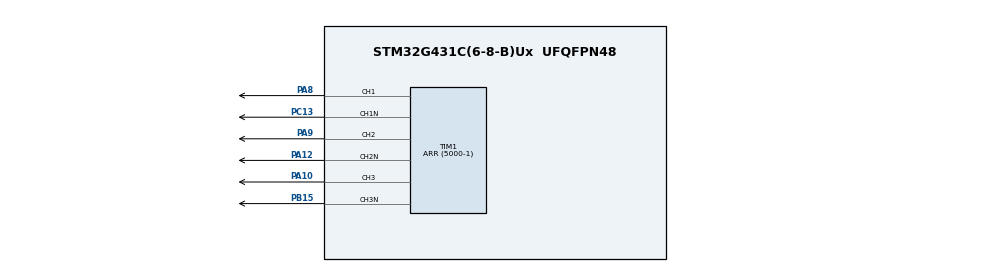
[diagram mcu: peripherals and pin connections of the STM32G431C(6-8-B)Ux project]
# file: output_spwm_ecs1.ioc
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Mcu.Family=STM32G4
Mcu.Name=STM32G431C(6-8-B)Ux
Mcu.Package=UFQFPN48
NVIC.PriorityGroup=NVIC_PRIORITYGROUP_4
NVIC.TIM1_UP_TIM16_IRQn=true\:0\:0\:false\:false\:true\:true\:true\:true
PA10.Signal=S_TIM1_CH3
PA12.Mode=Output Compare2 CH2 CH2N
PA12.Signal=TIM1_CH2N
PA13.Mode=Serial_Wire
PA13.Signal=SYS_JTMS-SWDIO
PA14.Mode=Serial_Wire
PA14.Signal=SYS_JTCK-SWCLK
PA8.Signal=S_TIM1_CH1
PA9.Signal=S_TIM1_CH2
PB15.Mode=Output Compare3 CH3 CH3N
PB15.Signal=TIM1_CH3N
PC13.Mode=Output Compare1 CH1 CH1N
PC13.Signal=TIM1_CH1N
PF0-OSC_IN.Mode=HSE-External-Oscillator
PF0-OSC_IN.Signal=RCC_OSC_IN
PF1-OSC_OUT.Mode=HSE-External-Oscillator
PF1-OSC_OUT.Signal=RCC_OSC_OUT
ProjectManager.HeapSize=0x200
ProjectManager.StackSize=0x400
ProjectManager.TargetToolchain=MDK-ARM V5.32
RCC.ADC12Freq_Value=170000000
RCC.AHBFreq_Value=170000000
RCC.APB1Freq_Value=170000000
RCC.APB1TimFreq_Value=170000000
RCC.APB2Freq_Value=170000000
RCC.APB2TimFreq_Value=170000000
RCC.CortexFreq_Value=170000000
RCC.EXTERNAL_CLOCK_VALUE=12288000
RCC.HCLKFreq_Value=170000000
RCC.HSE_VALUE=8000000
RCC.HSI48_VALUE=48000000
RCC.HSI_VALUE=16000000
RCC.LSE_VALUE=32768
RCC.PLLM=RCC_PLLM_DIV2
RCC.PLLN=85
RCC.PLLSourceVirtual=RCC_PLLSOURCE_HSE
RCC.SYSCLKFreq_VALUE=170000000
RCC.SYSCLKSource=RCC_SYSCLKSOURCE_PLLCLK
RCC.USBFreq_Value=170000000
RCC.VCOOutputFreq_Value=340000000
SH.S_TIM1_CH1.0=TIM1_CH1,Output Compare1 CH1 CH1N
SH.S_TIM1_CH2.0=TIM1_CH2,Output Compare2 CH2 CH2N
SH.S_TIM1_CH3.0=TIM1_CH3,Output Compare3 CH3 CH3N
STMicroelectronics.X-CUBE-ALGOBUILD.1.3.0.LibraryCcDSPOoLibraryJjDSPOoLibrary=true
TIM1.AutoReloadPreload=TIM_AUTORELOAD_PRELOAD_ENABLE
TIM1.BreakState=TIM_BREAK_ENABLE
TIM1.Channel-Output\ Compare1\ CH1\ CH1N=TIM_CHANNEL_1
TIM1.Channel-Output\ Compare2\ CH2\ CH2N=TIM_CHANNEL_2
TIM1.Channel-Output\ Compare3\ CH3\ CH3N=TIM_CHANNEL_3
TIM1.CounterMode=TIM_COUNTERMODE_CENTERALIGNED3
TIM1.DeadTime=0x28
TIM1.Dithering=Disable
TIM1.OC1Preload=ENABLE
TIM1.OC2Preload=ENABLE
TIM1.OC3Preload=ENABLE
TIM1.OffStateIDLEMode=TIM_OSSI_ENABLE
TIM1.OffStateRunMode=TIM_OSSR_ENABLE
TIM1.PeriodNoDither=(5000-1)
TIM1.RepetitionCounter=1
VP_STMicroelectronics.X-CUBE-ALGOBUILD_VS_DSPOoLibraryJjLibrary_1.3.0_1.3.0.Mode=DSPOoLibraryJjLibrary
VP_SYS_VS_DBSignals.Mode=DisableDeadBatterySignals
VP_TIM1_VS_ClockSourceINT.Mode=Internal
board=custom

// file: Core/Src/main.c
/* USER CODE BEGIN Header */
/**
  ******************************************************************************
  * @file           : main.c
  * @brief          : Main program body
  ******************************************************************************
  * @attention
  *
  * Copyright (c) 2024 STMicroelectronics.
  * All rights reserved.
  *
  * This software is licensed under terms that can be found in the LICENSE file
  * in the root directory of this software component.
  * If no LICENSE file comes with this software, it is provided AS-IS.
  *
  ******************************************************************************
  */
/* USER CODE END Header */
#include "main.h"
#include "tim.h"
#include "gpio.h"

/* USER CODE BEGIN Includes */
#include "algorithm_spwm.h"
/* USER CODE END Includes */

/* USER CODE BEGIN PV */
SPWM_HandelTypedef global_spwm;
CORDIC_TypeDef global_cordic;
int32_t acceleration=1;
float32_t frequence;
float32_t max_frequence=70.f;
/* USER CODE END PV */

void SystemClock_Config(void);

int main(void)
{

  /* MCU Configuration--------------------------------------------------------*/

  /* Reset of all peripherals, Initializes the Flash interface and the Systick. */
  LL_APB2_GRP1_EnableClock(LL_APB2_GRP1_PERIPH_SYSCFG);
  LL_APB1_GRP1_EnableClock(LL_APB1_GRP1_PERIPH_PWR);

  /* System interrupt init*/
  NVIC_SetPriorityGrouping(NVIC_PRIORITYGROUP_4);

  /* SysTick_IRQn interrupt configuration */
  NVIC_SetPriority(SysTick_IRQn, NVIC_EncodePriority(NVIC_GetPriorityGrouping(),15, 0));

  /** Disable the internal Pull-Up in Dead Battery pins of UCPD peripheral
  */
  LL_PWR_DisableUCPDDeadBattery();

  /* Configure the system clock */
  SystemClock_Config();

  /* Initialize all configured peripherals */
  MX_GPIO_Init();
  MX_TIM1_Init();
  /* USER CODE BEGIN 2 */
  SPWM_ParaInit(&global_spwm,400.f,0.f,0.f,PI_X2_DIV3,-PI_X2_DIV3,1.f);

  frequence=10.f;

  SPWM_Modulation(TIM1,&global_spwm,0);

  LL_mDelay(3000);

  SPWM_Start(TIM1,&global_spwm);

  /* USER CODE END 2 */

  /* Infinite loop */
  /* USER CODE BEGIN WHILE */
  while (1)
  {
    LL_mDelay(10);

    SPWM_Modulation(TIM1,&global_spwm,frequence+=acceleration);
    if((frequence>=50.f)||frequence<=-50.f){
      global_spwm.voltage_div_frequence=0.8f;
    }
    if((frequence>=max_frequence)||(frequence<=-max_frequence)){
      frequence-=acceleration;
    }
    /* USER CODE END WHILE */

  }
}

void SystemClock_Config(void)
{
  LL_FLASH_SetLatency(LL_FLASH_LATENCY_4);
  while(LL_FLASH_GetLatency() != LL_FLASH_LATENCY_4)
  {
  }
  LL_PWR_EnableRange1BoostMode();
  LL_RCC_HSE_Enable();
   /* Wait till HSE is ready */
  while(LL_RCC_HSE_IsReady() != 1)
  {
  }

  LL_RCC_PLL_ConfigDomain_SYS(LL_RCC_PLLSOURCE_HSE, LL_RCC_PLLM_DIV_2, 85, LL_RCC_PLLR_DIV_2);
  LL_RCC_PLL_EnableDomain_SYS();
  LL_RCC_PLL_Enable();
   /* Wait till PLL is ready */
  while(LL_RCC_PLL_IsReady() != 1)
  {
  }

  LL_RCC_SetSysClkSource(LL_RCC_SYS_CLKSOURCE_PLL);
  LL_RCC_SetAHBPrescaler(LL_RCC_SYSCLK_DIV_2);
   /* Wait till System clock is ready */
  while(LL_RCC_GetSysClkSource() != LL_RCC_SYS_CLKSOURCE_STATUS_PLL)
  {
  }

  /* Insure 1us transition state at intermediate medium speed clock*/
  for (__IO uint32_t i = (170 >> 1); i !=0; i--);

  /* Set AHB prescaler*/
  LL_RCC_SetAHBPrescaler(LL_RCC_SYSCLK_DIV_1);
  LL_RCC_SetAPB1Prescaler(LL_RCC_APB1_DIV_1);
  LL_RCC_SetAPB2Prescaler(LL_RCC_APB2_DIV_1);

  LL_Init1msTick(170000000);

  LL_SetSystemCoreClock(170000000);
}

void Error_Handler(void)
{
  __disable_irq();
  while (1)
  {
  }
}
